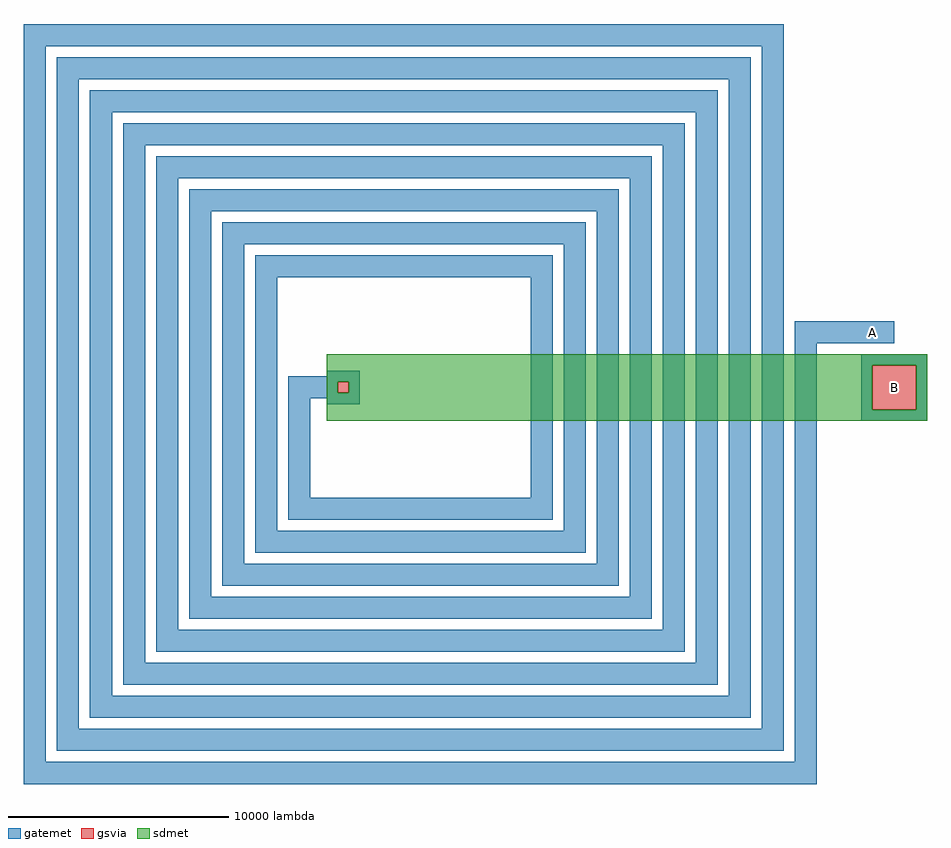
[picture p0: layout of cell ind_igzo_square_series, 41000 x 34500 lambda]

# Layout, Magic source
magic
tech igzo_mmm_lab
<< sdmet >>
rect -4250 1000 23000 1500
rect -4250 250 20500 1000
rect -4250 -250 -3750 250
rect -3250 -250 20500 250
rect -4250 -1000 20500 -250
rect 22500 -1000 23000 1000
rect -4250 -1500 23000 -1000
<< gatemet >>
rect -18000 15500 16500 16500
rect -18000 -17000 -17000 15500
rect -16500 14000 15000 15000
rect -16500 -15500 -15500 14000
rect -15000 12500 13500 13500
rect -15000 -14000 -14000 12500
rect -13500 11000 12000 12000
rect -13500 -12500 -12500 11000
rect -12000 9500 10500 10500
rect -12000 -11000 -11000 9500
rect -10500 8000 9000 9000
rect -10500 -9500 -9500 8000
rect -9000 6500 7500 7500
rect -9000 -8000 -8000 6500
rect -7500 5000 6000 6000
rect -7500 -6500 -6500 5000
rect -4250 500 -2750 750
rect -6000 250 -2750 500
rect -6000 -250 -3750 250
rect -3250 -250 -2750 250
rect -6000 -500 -2750 -250
rect -6000 -5000 -5000 -500
rect -4250 -750 -2750 -500
rect 5000 -5000 6000 5000
rect -6000 -6000 6000 -5000
rect 6500 -6500 7500 6500
rect -7500 -7500 7500 -6500
rect 8000 -8000 9000 8000
rect -9000 -9000 9000 -8000
rect 9500 -9500 10500 9500
rect -10500 -10500 10500 -9500
rect 11000 -11000 12000 11000
rect -12000 -12000 12000 -11000
rect 12500 -12500 13500 12500
rect -13500 -13500 13500 -12500
rect 14000 -14000 15000 14000
rect -15000 -15000 15000 -14000
rect 15500 -15500 16500 15500
rect -16500 -16500 16500 -15500
rect 17000 2000 21500 3000
rect 17000 -17000 18000 2000
rect 20000 1000 23000 1500
rect 20000 -1000 20500 1000
rect 22500 -1000 23000 1000
rect 20000 -1500 23000 -1000
rect -18000 -18000 18000 -17000
<< gsvia >>
rect -3750 -250 -3250 250
rect 20500 -1000 22500 1000
<< labels >>
rlabel gatemet s 20000 2000 21000 3000 4 A
port 3 nsew
rlabel gatemet s 21000 -500 22000 500 4 B
port 5 nsew
rlabel text s 0 -20500 0 -20500 4 ind_igzo 16.38nH / 379Ohm @ 100MHz / Q 0.03
<< end >>
